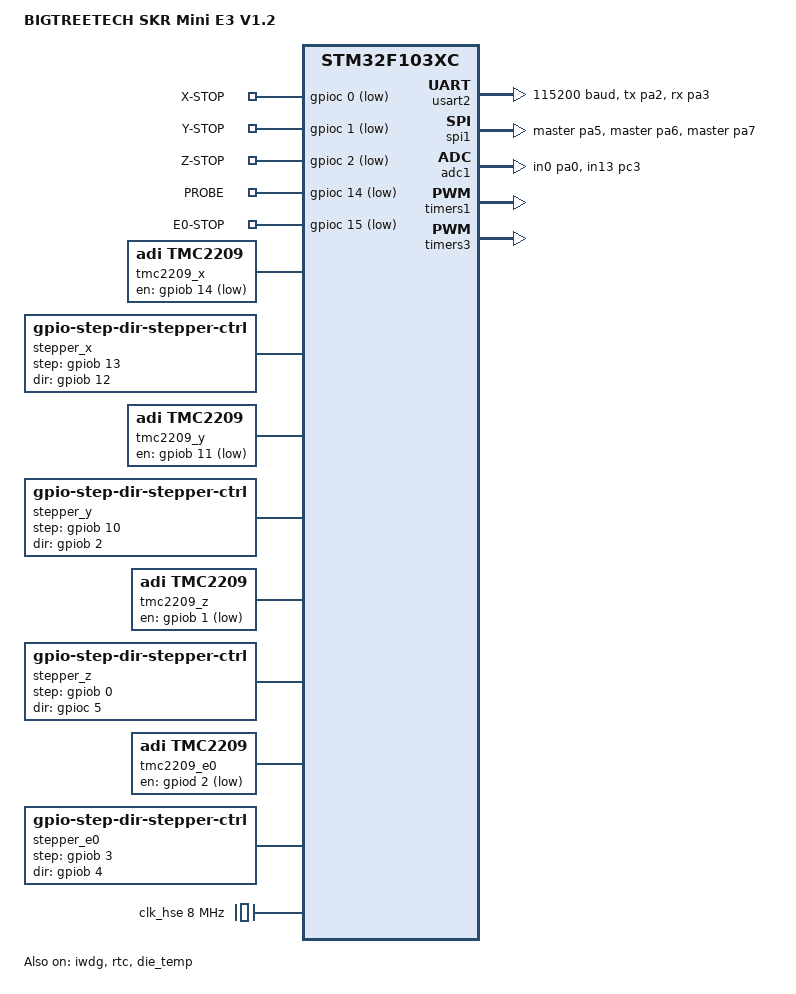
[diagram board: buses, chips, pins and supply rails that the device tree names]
/*
 * Copyright (c) 2024
 *
 * SPDX-License-Identifier: Apache-2.0
 */

/dts-v1/;
#include <st/f1/stm32f103Xc.dtsi>
#include <st/f1/stm32f103r(c-d-e)tx-pinctrl.dtsi>

/ {
	model = "BIGTREETECH SKR Mini E3 V1.2";
	compatible = "bigtreetech,skr-mini-e3-v1-2";

	chosen {
		zephyr,console = &usart2;
		zephyr,shell-uart = &usart2;
		zephyr,sram = &sram0;
		zephyr,flash = &flash0;
	};

	aliases {
		watchdog0 = &iwdg;
		die-temp0 = &die_temp;
		stepper-x-driver = &tmc2209_x;
		stepper-x-ctrl = &stepper_x;
		stepper-y-driver = &tmc2209_y;
		stepper-y-ctrl = &stepper_y;
		stepper-z-driver = &tmc2209_z;
		stepper-z-ctrl = &stepper_z;
		stepper-e0-driver = &tmc2209_e0;
		stepper-e0-ctrl = &stepper_e0;
	};

	/* X/Y/Z/E0-STOP and BLTouch probe input */
	gpio_keys {
		compatible = "gpio-keys";

		x_stop: x-stop {
			label = "X-STOP";
			gpios = <&gpioc 0 GPIO_ACTIVE_LOW>;
		};

		y_stop: y-stop {
			label = "Y-STOP";
			gpios = <&gpioc 1 GPIO_ACTIVE_LOW>;
		};

		z_stop: z-stop {
			label = "Z-STOP";
			gpios = <&gpioc 2 GPIO_ACTIVE_LOW>;
		};

		z_probe: z-probe {
			label = "PROBE";
			gpios = <&gpioc 14 GPIO_ACTIVE_LOW>;
		};

		e0_stop: e0-stop {
			label = "E0-STOP";
			gpios = <&gpioc 15 GPIO_ACTIVE_LOW>;
		};
	};

	/* Onboard TMC2209 drivers, enable pins only (microstepping is set over UART) */
	tmc2209_x: tmc2209-x {
		compatible = "adi,tmc2209";
		en-gpios = <&gpiob 14 GPIO_ACTIVE_LOW>;
	};

	stepper_x: stepper-x {
		compatible = "zephyr,gpio-step-dir-stepper-ctrl";
		step-gpios = <&gpiob 13 GPIO_ACTIVE_HIGH>;
		dir-gpios = <&gpiob 12 GPIO_ACTIVE_HIGH>;
		stepper-driver = <&tmc2209_x>;
	};

	tmc2209_y: tmc2209-y {
		compatible = "adi,tmc2209";
		en-gpios = <&gpiob 11 GPIO_ACTIVE_LOW>;
	};

	stepper_y: stepper-y {
		compatible = "zephyr,gpio-step-dir-stepper-ctrl";
		step-gpios = <&gpiob 10 GPIO_ACTIVE_HIGH>;
		dir-gpios = <&gpiob 2 GPIO_ACTIVE_HIGH>;
		stepper-driver = <&tmc2209_y>;
	};

	tmc2209_z: tmc2209-z {
		compatible = "adi,tmc2209";
		en-gpios = <&gpiob 1 GPIO_ACTIVE_LOW>;
	};

	stepper_z: stepper-z {
		compatible = "zephyr,gpio-step-dir-stepper-ctrl";
		step-gpios = <&gpiob 0 GPIO_ACTIVE_HIGH>;
		dir-gpios = <&gpioc 5 GPIO_ACTIVE_HIGH>;
		stepper-driver = <&tmc2209_z>;
	};

	tmc2209_e0: tmc2209-e0 {
		compatible = "adi,tmc2209";
		en-gpios = <&gpiod 2 GPIO_ACTIVE_LOW>;
	};

	stepper_e0: stepper-e0 {
		compatible = "zephyr,gpio-step-dir-stepper-ctrl";
		step-gpios = <&gpiob 3 GPIO_ACTIVE_HIGH>;
		dir-gpios = <&gpiob 4 GPIO_ACTIVE_HIGH>;
		stepper-driver = <&tmc2209_e0>;
	};
};

&clk_lsi {
	status = "okay";
};

&clk_hse {
	clock-frequency = <DT_FREQ_M(8)>;
	status = "okay";
};

&pll {
	mul = <9>;
	clocks = <&clk_hse>;
	status = "okay";
};

&rcc {
	clocks = <&pll>;
	clock-frequency = <DT_FREQ_M(72)>;
	ahb-prescaler = <1>;
	apb1-prescaler = <2>;
	apb2-prescaler = <1>;
};

/* TFT/debug header (PA2/PA3) */
&usart2 {
	pinctrl-0 = <&usart2_tx_pa2 &usart2_rx_pa3>;
	pinctrl-names = "default";
	current-speed = <115200>;
	status = "okay";
};

/* Onboard micro-SD card slot */
&spi1 {
	pinctrl-0 = <&spi1_sck_master_pa5 &spi1_miso_master_pa6 &spi1_mosi_master_pa7>;
	pinctrl-names = "default";
	cs-gpios = <&gpioa 4 (GPIO_ACTIVE_LOW | GPIO_PULL_UP)>;
	status = "okay";
};

/* Hotend thermistor (TH0 / PA0) and heated-bed thermistor (TB0 / PC3) */
&adc1 {
	pinctrl-0 = <&adc1_in0_pa0 &adc1_in13_pc3>;
	pinctrl-names = "default";
	status = "okay";
};

/* Part-cooling fan output */
&timers1 {
	st,prescaler = <99>;
	status = "okay";

	fan0_pwm: pwm {
		status = "okay";
		pinctrl-0 = <&tim1_ch1_pwm_out_pa8>;
		pinctrl-names = "default";
	};
};

/* Hotend (CH3/PC8) and heated-bed (CH4/PC9) heater outputs, full remap */
&timers3 {
	st,prescaler = <99>;
	status = "okay";

	heater_pwm: pwm {
		status = "okay";
		pinctrl-0 = <&tim3_ch3_remap3_pwm_out_pc8 &tim3_ch4_remap3_pwm_out_pc9>;
		pinctrl-names = "default";
	};
};

&iwdg {
	status = "okay";
};

&rtc {
	clocks = <&rcc STM32_CLOCK(APB1, 28)>,
		 <&rcc STM32_SRC_LSI RTC_SEL(2)>;
	status = "okay";
};

&die_temp {
	status = "okay";
};
